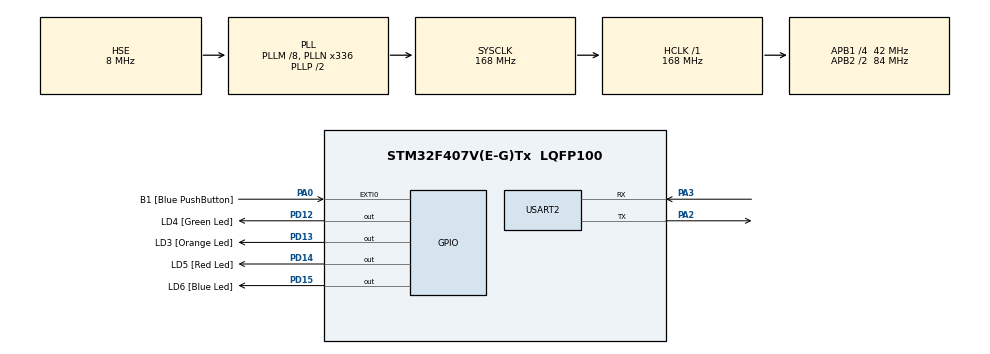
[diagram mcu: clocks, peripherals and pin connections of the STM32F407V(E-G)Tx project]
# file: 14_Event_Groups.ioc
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FREERTOS.Tasks01=defaultTask,24,128,StartDefaultTask,Default,NULL,Dynamic,NULL,NULL
FREERTOS.configCHECK_FOR_STACK_OVERFLOW=2
FREERTOS.configTOTAL_HEAP_SIZE=32768
FREERTOS.configUSE_IDLE_HOOK=0
FREERTOS.configUSE_MALLOC_FAILED_HOOK=1
FREERTOS.configUSE_TICK_HOOK=0
FREERTOS.configUSE_TRACE_FACILITY=1
Mcu.Family=STM32F4
Mcu.Name=STM32F407V(E-G)Tx
Mcu.Package=LQFP100
NVIC.EXTI0_IRQn=true\:5\:0\:false\:false\:true\:true\:true\:true\:true
NVIC.PriorityGroup=NVIC_PRIORITYGROUP_4
NVIC.TIM6_DAC_IRQn=true\:15\:0\:false\:false\:true\:false\:false\:true\:true
NVIC.TimeBase=TIM6_DAC_IRQn
NVIC.TimeBaseIP=TIM6
PA0-WKUP.GPIO_Label=B1 [Blue PushButton]
PA0-WKUP.GPIO_ModeDefaultEXTI=GPIO_MODE_IT_RISING
PA0-WKUP.GPIO_PuPd=GPIO_NOPULL
PA0-WKUP.Signal=GPXTI0
PA13.GPIO_Label=SWDIO
PA13.Mode=Serial_Wire
PA13.Signal=SYS_JTMS-SWDIO
PA14.GPIO_Label=SWCLK
PA14.Mode=Serial_Wire
PA14.Signal=SYS_JTCK-SWCLK
PA2.Mode=Asynchronous
PA2.Signal=USART2_TX
PA3.Mode=Asynchronous
PA3.Signal=USART2_RX
PB3.GPIO_Label=SWO
PB3.Signal=SYS_JTDO-SWO
PC14-OSC32_IN.GPIO_Label=PC14-OSC32_IN
PC14-OSC32_IN.Mode=LSE-External-Oscillator
PC14-OSC32_IN.Signal=RCC_OSC32_IN
PC15-OSC32_OUT.GPIO_Label=PC15-OSC32_OUT
PC15-OSC32_OUT.Mode=LSE-External-Oscillator
PC15-OSC32_OUT.Signal=RCC_OSC32_OUT
PD12.GPIO_Label=LD4 [Green Led]
PD12.GPIO_PuPd=GPIO_NOPULL
PD12.GPIO_Speed=GPIO_SPEED_FREQ_LOW
PD12.Signal=GPIO_Output
PD13.GPIO_Label=LD3 [Orange Led]
PD13.GPIO_PuPd=GPIO_NOPULL
PD13.GPIO_Speed=GPIO_SPEED_FREQ_LOW
PD13.Signal=GPIO_Output
PD14.GPIO_Label=LD5 [Red Led]
PD14.GPIO_PuPd=GPIO_NOPULL
PD14.GPIO_Speed=GPIO_SPEED_FREQ_LOW
PD14.Signal=GPIO_Output
PD15.GPIO_Label=LD6 [Blue Led]
PD15.GPIO_PuPd=GPIO_NOPULL
PD15.GPIO_Speed=GPIO_SPEED_FREQ_LOW
PD15.Signal=GPIO_Output
PH0-OSC_IN.GPIO_Label=PH0-OSC_IN
PH0-OSC_IN.Mode=HSE-External-Oscillator
PH0-OSC_IN.Signal=RCC_OSC_IN
PH1-OSC_OUT.GPIO_Label=PH1-OSC_OUT
PH1-OSC_OUT.Mode=HSE-External-Oscillator
PH1-OSC_OUT.Signal=RCC_OSC_OUT
ProjectManager.HeapSize=0x200
ProjectManager.StackSize=0x400
ProjectManager.TargetToolchain=STM32CubeIDE
RCC.48MHZClocksFreq_Value=48000000
RCC.AHBFreq_Value=168000000
RCC.APB1CLKDivider=RCC_HCLK_DIV4
RCC.APB1Freq_Value=42000000
RCC.APB1TimFreq_Value=84000000
RCC.APB2CLKDivider=RCC_HCLK_DIV2
RCC.APB2Freq_Value=84000000
RCC.APB2TimFreq_Value=168000000
RCC.CortexFreq_Value=168000000
RCC.HCLKFreq_Value=168000000
RCC.HSE_VALUE=8000000
RCC.HSI_VALUE=16000000
RCC.PLLM=8
RCC.PLLN=336
RCC.PLLQ=7
RCC.PLLSourceVirtual=RCC_PLLSOURCE_HSE
RCC.SYSCLKFreq_VALUE=168000000
RCC.SYSCLKSource=RCC_SYSCLKSOURCE_PLLCLK
RCC.VCOOutputFreq_Value=336000000
USART2.VirtualMode=VM_ASYNC
VP_FREERTOS_VS_CMSIS_V2.Mode=CMSIS_V2
VP_SYS_VS_tim6.Mode=TIM6
board=STM32F407G-DISC1

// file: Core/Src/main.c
/* USER CODE BEGIN Header */
/**
  ******************************************************************************
  * @file           : main.c
  * @brief          : Main program body
  ******************************************************************************
  * @attention
  *
  * Copyright (c) 2026 STMicroelectronics.
  * All rights reserved.
  *
  * This software is licensed under terms that can be found in the LICENSE file
  * in the root directory of this software component.
  * If no LICENSE file comes with this software, it is provided AS-IS.
  *
  ******************************************************************************
  */
/* USER CODE END Header */
#include "main.h"

/* USER CODE BEGIN Includes */
#include "FreeRTOS.h"
#include "task.h"
#include "event_groups.h"
#include <stdio.h>
/* USER CODE END Includes */

/* USER CODE BEGIN PD */
#define SENSOR_READY_BIT    (1U << 0U)
#define DATA_READY_BIT      (1U << 1U)
/* USER CODE END PD */

UART_HandleTypeDef huart2;

/* USER CODE BEGIN PV */
EventGroupHandle_t eventGroup;

TaskHandle_t sensorTaskHandle;
TaskHandle_t dataTaskHandle;
TaskHandle_t processingTaskHandle;
/* USER CODE END PV */

void SystemClock_Config(void);
static void MX_GPIO_Init(void);
static void MX_USART2_UART_Init(void);

/* USER CODE BEGIN PFP */
static void SensorTask(void *argument);
static void DataTask(void *argument);
static void ProcessingTask(void *argument);
/* USER CODE END PFP */

int main(void)
{

  /* MCU Configuration--------------------------------------------------------*/

  /* Reset of all peripherals, Initializes the Flash interface and the Systick. */
  HAL_Init();

  /* Configure the system clock */
  SystemClock_Config();

  /* Initialize all configured peripherals */
  MX_GPIO_Init();
  MX_USART2_UART_Init();

  eventGroup = xEventGroupCreate();

  if (eventGroup == NULL)
  {
      Error_Handler();
  }

  xTaskCreate(SensorTask, "SensorTask", 128, NULL, 2, &sensorTaskHandle);
  xTaskCreate(DataTask, "DataTask", 128, NULL, 2, &dataTaskHandle);
  xTaskCreate(ProcessingTask, "ProcessingTask", 128, NULL, 2, &processingTaskHandle);

  vTaskStartScheduler();
  /* We should never get here as control is now taken by the scheduler */

  /* Infinite loop */
  while (1)
  {

  }
}

void SystemClock_Config(void)
{
  RCC_OscInitTypeDef RCC_OscInitStruct = {0};
  RCC_ClkInitTypeDef RCC_ClkInitStruct = {0};

  /** Configure the main internal regulator output voltage
  */
  __HAL_RCC_PWR_CLK_ENABLE();
  __HAL_PWR_VOLTAGESCALING_CONFIG(PWR_REGULATOR_VOLTAGE_SCALE1);

  /** Initializes the RCC Oscillators according to the specified parameters
  * in the RCC_OscInitTypeDef structure.
  */
  RCC_OscInitStruct.OscillatorType = RCC_OSCILLATORTYPE_HSE;
  RCC_OscInitStruct.HSEState = RCC_HSE_ON;
  RCC_OscInitStruct.PLL.PLLState = RCC_PLL_ON;
  RCC_OscInitStruct.PLL.PLLSource = RCC_PLLSOURCE_HSE;
  RCC_OscInitStruct.PLL.PLLM = 8;
  RCC_OscInitStruct.PLL.PLLN = 336;
  RCC_OscInitStruct.PLL.PLLP = RCC_PLLP_DIV2;
  RCC_OscInitStruct.PLL.PLLQ = 7;
  if (HAL_RCC_OscConfig(&RCC_OscInitStruct) != HAL_OK)
  {
    Error_Handler();
  }

  /** Initializes the CPU, AHB and APB buses clocks
  */
  RCC_ClkInitStruct.ClockType = RCC_CLOCKTYPE_HCLK|RCC_CLOCKTYPE_SYSCLK
                              |RCC_CLOCKTYPE_PCLK1|RCC_CLOCKTYPE_PCLK2;
  RCC_ClkInitStruct.SYSCLKSource = RCC_SYSCLKSOURCE_PLLCLK;
  RCC_ClkInitStruct.AHBCLKDivider = RCC_SYSCLK_DIV1;
  RCC_ClkInitStruct.APB1CLKDivider = RCC_HCLK_DIV4;
  RCC_ClkInitStruct.APB2CLKDivider = RCC_HCLK_DIV2;

  if (HAL_RCC_ClockConfig(&RCC_ClkInitStruct, FLASH_LATENCY_5) != HAL_OK)
  {
    Error_Handler();
  }
}

static void MX_USART2_UART_Init(void)
{

  huart2.Instance = USART2;
  huart2.Init.BaudRate = 115200;
  huart2.Init.WordLength = UART_WORDLENGTH_8B;
  huart2.Init.StopBits = UART_STOPBITS_1;
  huart2.Init.Parity = UART_PARITY_NONE;
  huart2.Init.Mode = UART_MODE_TX_RX;
  huart2.Init.HwFlowCtl = UART_HWCONTROL_NONE;
  huart2.Init.OverSampling = UART_OVERSAMPLING_16;
  if (HAL_UART_Init(&huart2) != HAL_OK)
  {
    Error_Handler();
  }

}

static void MX_GPIO_Init(void)
{
  GPIO_InitTypeDef GPIO_InitStruct = {0};

  /* GPIO Ports Clock Enable */
  __HAL_RCC_GPIOC_CLK_ENABLE();
  __HAL_RCC_GPIOH_CLK_ENABLE();
  __HAL_RCC_GPIOA_CLK_ENABLE();
  __HAL_RCC_GPIOD_CLK_ENABLE();
  __HAL_RCC_GPIOB_CLK_ENABLE();

  /*Configure GPIO pin Output Level */
  HAL_GPIO_WritePin(GPIOD, LD4_Pin|LD3_Pin|LD5_Pin|LD6_Pin, GPIO_PIN_RESET);

  /*Configure GPIO pin : B1_Pin */
  GPIO_InitStruct.Pin = B1_Pin;
  GPIO_InitStruct.Mode = GPIO_MODE_IT_RISING;
  GPIO_InitStruct.Pull = GPIO_NOPULL;
  HAL_GPIO_Init(B1_GPIO_Port, &GPIO_InitStruct);

  /*Configure GPIO pins : LD4_Pin LD3_Pin LD5_Pin LD6_Pin */
  GPIO_InitStruct.Pin = LD4_Pin|LD3_Pin|LD5_Pin|LD6_Pin;
  GPIO_InitStruct.Mode = GPIO_MODE_OUTPUT_PP;
  GPIO_InitStruct.Pull = GPIO_NOPULL;
  GPIO_InitStruct.Speed = GPIO_SPEED_FREQ_LOW;
  HAL_GPIO_Init(GPIOD, &GPIO_InitStruct);

  /* EXTI interrupt init*/
  HAL_NVIC_SetPriority(EXTI0_IRQn, 5, 0);
  HAL_NVIC_EnableIRQ(EXTI0_IRQn);

}

/* USER CODE BEGIN 4 */
static void SensorTask(void *argument)
{
    char msg[50];
    int len;

    for (;;)
    {
        len = snprintf(msg, sizeof(msg), "Sensor ready\r\n");
        HAL_UART_Transmit(&huart2, (uint8_t *)msg, len, HAL_MAX_DELAY);

        xEventGroupSetBits(eventGroup, SENSOR_READY_BIT);

        vTaskDelay(pdMS_TO_TICKS(2000));
    }
}

static void DataTask(void *argument)
{
    char msg[50];
    int len;

    for (;;)
    {
        len = snprintf(msg, sizeof(msg), "Data ready\r\n");
        HAL_UART_Transmit(&huart2, (uint8_t *)msg, len, HAL_MAX_DELAY);

        xEventGroupSetBits(eventGroup, DATA_READY_BIT);

        vTaskDelay(pdMS_TO_TICKS(3000));
    }
}

static void ProcessingTask(void *argument)
{
    char msg[50];
    int len;

    EventBits_t bits;

    for (;;)
    {
        bits = xEventGroupWaitBits(eventGroup, SENSOR_READY_BIT | DATA_READY_BIT, pdTRUE, pdTRUE, portMAX_DELAY);

        if ((bits & (SENSOR_READY_BIT | DATA_READY_BIT)) == (SENSOR_READY_BIT | DATA_READY_BIT))
        {
            len = snprintf(msg, sizeof(msg), "Both events received\r\n");
            HAL_UART_Transmit(&huart2, (uint8_t *)msg, len, HAL_MAX_DELAY);

            len = snprintf(msg, sizeof(msg), "Processing data\r\n");
            HAL_UART_Transmit(&huart2, (uint8_t *)msg, len, HAL_MAX_DELAY);
        }
    }
}
/* USER CODE END 4 */

void HAL_TIM_PeriodElapsedCallback(TIM_HandleTypeDef *htim)
{
  if (htim->Instance == TIM6)
  {
    HAL_IncTick();
  }
}

void Error_Handler(void)
{
  __disable_irq();
  while (1)
  {
  }
}
